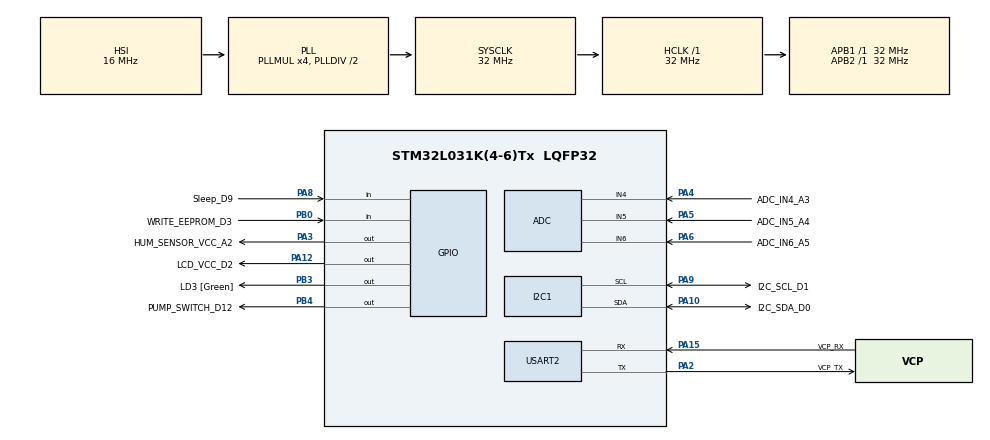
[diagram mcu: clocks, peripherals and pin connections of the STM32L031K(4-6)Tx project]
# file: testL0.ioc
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Dma.ADC.0.Direction=DMA_PERIPH_TO_MEMORY
Dma.ADC.0.Instance=DMA1_Channel1
Dma.ADC.0.MemDataAlignment=DMA_MDATAALIGN_WORD
Dma.ADC.0.MemInc=DMA_MINC_ENABLE
Dma.ADC.0.Mode=DMA_CIRCULAR
Dma.ADC.0.PeriphDataAlignment=DMA_PDATAALIGN_WORD
Dma.ADC.0.PeriphInc=DMA_PINC_DISABLE
Dma.ADC.0.Priority=DMA_PRIORITY_LOW
Dma.Request0=ADC
I2C1.Timing=0x00707CBB
Mcu.Family=STM32L0
Mcu.Name=STM32L031K(4-6)Tx
Mcu.Package=LQFP32
NVIC.ADC1_COMP_IRQn=true\:0\:0\:false\:false\:true\:true\:true
NVIC.DMA1_Channel1_IRQn=true\:0\:0\:false\:false\:true\:false\:true
PA10.GPIO_Label=I2C_SDA_D0
PA10.Mode=I2C
PA10.Signal=I2C1_SDA
PA12.GPIO_Label=LCD_VCC_D2
PA12.Signal=GPIO_Output
PA13.GPIO_Label=TMS
PA13.Mode=Serial_Wire
PA13.Signal=SYS_SWDIO
PA14.GPIO_Label=TCK
PA14.Mode=Serial_Wire
PA14.Signal=SYS_SWCLK
PA15.GPIO_Label=VCP_RX
PA15.Mode=Asynchronous
PA15.Signal=USART2_RX
PA2.GPIO_Label=VCP_TX
PA2.Mode=Asynchronous
PA2.Signal=USART2_TX
PA3.GPIO_Label=HUM_SENSOR_VCC_A2
PA3.Signal=GPIO_Output
PA4.GPIO_Label=ADC_IN4_A3
PA4.Mode=IN4
PA4.Signal=ADC_IN4
PA5.GPIO_Label=ADC_IN5_A4
PA5.Mode=IN5
PA5.Signal=ADC_IN5
PA6.GPIO_Label=ADC_IN6_A5
PA6.Mode=IN6
PA6.Signal=ADC_IN6
PA8.GPIO_Label=Sleep_D9
PA8.Signal=GPIO_Input
PA9.GPIO_Label=I2C_SCL_D1
PA9.Mode=I2C
PA9.Signal=I2C1_SCL
PB0.GPIO_Label=WRITE_EEPROM_D3
PB0.Signal=GPIO_Input
PB3.GPIO_Label=LD3 [Green]
PB3.Signal=GPIO_Output
PB4.GPIO_Label=PUMP_SWITCH_D12
PB4.Signal=GPIO_Output
PC14-OSC32_IN.Mode=LSE-External-Oscillator
PC14-OSC32_IN.Signal=RCC_OSC32_IN
PC15-OSC32_OUT.Mode=LSE-External-Oscillator
PC15-OSC32_OUT.Signal=RCC_OSC32_OUT
ProjectManager.HeapSize=0x200
ProjectManager.StackSize=0x400
ProjectManager.TargetToolchain=STM32CubeIDE
RCC.AHBFreq_Value=32000000
RCC.APB1Freq_Value=32000000
RCC.APB1TimFreq_Value=32000000
RCC.APB2Freq_Value=32000000
RCC.APB2TimFreq_Value=32000000
RCC.HCLKFreq_Value=32000000
RCC.HSE_VALUE=8000000
RCC.HSI16_VALUE=16000000
RCC.HSI48_VALUE=48000000
RCC.HSI_VALUE=16000000
RCC.MSI_VALUE=2097000
RCC.PLLMUL=RCC_PLLMUL_4
RCC.SYSCLKFreq_VALUE=32000000
RCC.SYSCLKSource=RCC_SYSCLKSOURCE_PLLCLK
RCC.VCOOutputFreq_Value=64000000
RTC.Alarm-Alarm\ A=RTC_ALARM_A
USART2.VirtualMode-Asynchronous=VM_ASYNC
VP_ADC_TempSens_Input.Mode=IN-TempSens
VP_ADC_Vref_Input.Mode=IN-Vrefint
VP_RTC_VS_RTC_Activate.Mode=RTC_Enabled
VP_RTC_VS_RTC_Alarm_A_Intern.Mode=Alarm A
VP_RTC_VS_RTC_Calendar.Mode=RTC_Calendar
board=NUCLEO-L031K6

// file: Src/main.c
/* USER CODE BEGIN Header */
/**
  ******************************************************************************
  * @file           : main.c
  * @brief          : Main program body
  ******************************************************************************
  * @attention
  *
  * <h2><center>&copy; Copyright (c) 2019 STMicroelectronics.
  * All rights reserved.</center></h2>
  *
  * This software component is licensed by ST under BSD 3-Clause license,
  * the "License"; You may not use this file except in compliance with the
  * License. You may obtain a copy of the License at:
  *                        opensource.org/licenses/BSD-3-Clause
  *
  ******************************************************************************
  */
/* USER CODE END Header */

#include "main.h"

/* USER CODE BEGIN Includes */
#define OLED_DISPLAY
#define USE_EEPROM
//#define FLOAT_CONVERSION

#define NUMBER_OF_MEASURE 48 //2days if 1 hour

#ifdef OLED_DISPLAY
#include "ssd1306.h"
#include "fonts.h"
#include <stdio.h>
#include <math.h>
#endif
#include "stdbool.h"
/* USER CODE END Includes */

/* USER CODE BEGIN PD */
#define DATA_EEPROM_START_ADDR     0x08080000
#define DATA_EEPROM_SIZE_BYTES     8192
#define EEPROM_MEASURECOUNTER 		DATA_EEPROM_START_ADDR
/* USER CODE END PD */

ADC_HandleTypeDef hadc;
DMA_HandleTypeDef hdma_adc;

I2C_HandleTypeDef hi2c1;

RTC_HandleTypeDef hrtc;

UART_HandleTypeDef huart2;

/* USER CODE BEGIN PV */
/* Private variables ---------------------------------------------------------*/
uint32_t ADC_buf[6] = {9,9,9,9,9};
uint32_t ADC_VSolar,ADC_Vreg,ADC_Vref,ADC_Temp,ADC_Soil;
bool measureADCDone;
//uint8_t MeasADCindex =0;
bool SleepOccurs;
uint32_t MeasureCounter = 0;
/* USER CODE END PV */

void SystemClock_Config(void);
static void MX_GPIO_Init(void);
static void MX_DMA_Init(void);
static void MX_USART2_UART_Init(void);
static void MX_I2C1_Init(void);
static void MX_ADC_Init(void);
static void MX_RTC_Init(void);
/* USER CODE BEGIN PFP */
void ftoa(float n, char *res, int afterpoint);
void UpdateDisplay();
void GotoStandby();
/* USER CODE END PFP */

/* USER CODE BEGIN 0 */
void HAL_ADC_ConvCpltCallback(ADC_HandleTypeDef* hadc){

	if(hadc->Instance == ADC1)
	{

		//for L0
		//IN4 : Pin A3 Soil
		//IN5 : Pin A4
		//IN6 : Pin A5
		//Temp
		//Vref
		ADC_Soil = ADC_buf[0];
		ADC_VSolar = ADC_buf[1];
		ADC_Vreg = ADC_buf[2];
		ADC_Temp = ADC_buf[2];
		ADC_Vref = ADC_buf[3];

		measureADCDone = true;

	}

}
/* USER CODE END 0 */

int main(void)
{

  /* MCU Configuration--------------------------------------------------------*/

  /* Reset of all peripherals, Initializes the Flash interface and the Systick. */
  HAL_Init();

  /* Configure the system clock */
  SystemClock_Config();

  /* Initialize all configured peripherals */
  MX_GPIO_Init();
  MX_DMA_Init();
  MX_USART2_UART_Init();
  MX_I2C1_Init();
  MX_ADC_Init();
  MX_RTC_Init();
  /* USER CODE BEGIN 2 */
  measureADCDone = false;

  /* Run the ADC calibration in single-ended mode */
	if (HAL_ADCEx_Calibration_Start(&hadc, ADC_SINGLE_ENDED) != HAL_OK)
	{
	  /* Calibration Error */
	  Error_Handler();
	}

  HAL_GPIO_WritePin(LCD_VCC_D2_GPIO_Port, LCD_VCC_D2_Pin, GPIO_PIN_SET);
  HAL_GPIO_WritePin(HUM_SENSOR_VCC_A2_GPIO_Port, HUM_SENSOR_VCC_A2_Pin, GPIO_PIN_SET);

#ifdef OLED_DISPLAY
  ssd1306_Init();
  HAL_Delay(100);
  ssd1306_Fill(Black);
  ssd1306_UpdateScreen();
  HAL_Delay(100);
  ssd1306_SetCursor(2,2);
#endif
  /* Check and handle if the system was resumed from StandBy mode */
  if(__HAL_PWR_GET_FLAG(PWR_FLAG_SB) != RESET)
  {
	/* Clear Standby flag */
	__HAL_PWR_CLEAR_FLAG(PWR_FLAG_SB);
#ifdef OLED_DISPLAY
	ssd1306_WriteString("Wake up",Font_7x10,White);
#endif
	measureADCDone = false;
	SleepOccurs = true;

	//if wake up increment measure counter and store it in EEPROM
//	MeasureCounter = *(uint32_t*) (DATA_EEPROM_START_ADDR);
//	MeasureCounter ++;
//	MeasureCounter = MeasureCounter % NUMBER_OF_MEASURE;
//#ifdef USE_EEPROM
//	if (HAL_GPIO_ReadPin(WRITE_EEPROM_D3_GPIO_Port,WRITE_EEPROM_D3_Pin))
//	{
//		HAL_FLASHEx_DATAEEPROM_Unlock();
//		HAL_FLASHEx_DATAEEPROM_Program(FLASH_TYPEPROGRAMDATA_WORD, 0x08080000, MeasureCounter);
//		HAL_FLASHEx_DATAEEPROM_Lock();
//	}
//#endif

  }
  else
  {
#ifdef OLED_DISPLAY
	  ssd1306_WriteString("First Init",Font_7x10,White);
#endif
	  SleepOccurs = false;
	  //MeasureCounter = 0 ;
#ifdef USE_EEPROM
	  if (HAL_GPIO_ReadPin(WRITE_EEPROM_D3_GPIO_Port,WRITE_EEPROM_D3_Pin))
	  	{

		ssd1306_SetCursor(0,13);
		ssd1306_WriteString("ERASE EEPROM",Font_7x10,White);

		  //Erase all Data in EEPROM
		  HAL_FLASHEx_DATAEEPROM_Unlock();
		  for (int i = 0; i < (NUMBER_OF_MEASURE *3)+1 ; i++)
		  {
			  HAL_FLASHEx_DATAEEPROM_Erase(DATA_EEPROM_START_ADDR + i*4);
		  }
		  HAL_FLASHEx_DATAEEPROM_Lock();
	  	}
#endif
  }

#ifdef OLED_DISPLAY
  ssd1306_UpdateScreen();
#endif

  HAL_Delay(1000);

  HAL_ADC_Start_DMA(&hadc,(uint32_t*)ADC_buf,sizeof(ADC_buf));

  /* USER CODE END 2 */

  /* Infinite loop */
  while (1)
  {

    /* USER CODE BEGIN 3 */

    //Start ADC conversion
	if (measureADCDone == false)
	{

		HAL_GPIO_WritePin(HUM_SENSOR_VCC_A2_GPIO_Port, HUM_SENSOR_VCC_A2_Pin, GPIO_PIN_SET);
		HAL_ADC_Start_IT(&hadc);

	}

	else
	{
		HAL_GPIO_WritePin(HUM_SENSOR_VCC_A2_GPIO_Port, HUM_SENSOR_VCC_A2_Pin, GPIO_PIN_RESET);
		HAL_ADC_Stop_IT(&hadc);

//		if (HAL_GPIO_ReadPin(WRITE_EEPROM_D3_GPIO_Port,WRITE_EEPROM_D3_Pin))
//		{
			MeasureCounter = *(uint32_t*) (DATA_EEPROM_START_ADDR);
//		}
		MeasureCounter = MeasureCounter % NUMBER_OF_MEASURE + 1;

		//saved measure into EEPROM

#ifdef USE_EEPROM
//		if (HAL_GPIO_ReadPin(WRITE_EEPROM_D3_GPIO_Port,WRITE_EEPROM_D3_Pin))
//		{
			HAL_FLASHEx_DATAEEPROM_Unlock();
			HAL_FLASHEx_DATAEEPROM_Program(FLASH_TYPEPROGRAMDATA_WORD, 0x08080000, MeasureCounter);
			//save SUN measure
			HAL_FLASHEx_DATAEEPROM_Program(FLASH_TYPEPROGRAMDATA_WORD, 0x08080000 + ((MeasureCounter) *4), ADC_buf[1]);
			//save Vcc Measure
			HAL_FLASHEx_DATAEEPROM_Program(FLASH_TYPEPROGRAMDATA_WORD, 0x08080000 + NUMBER_OF_MEASURE *4 + ((MeasureCounter) *4), ADC_buf[2]);
			//save Vref
			HAL_FLASHEx_DATAEEPROM_Program(FLASH_TYPEPROGRAMDATA_WORD, 0x08080000 + NUMBER_OF_MEASURE *2*4 + ((MeasureCounter) *4), ADC_buf[4]);
			HAL_FLASHEx_DATAEEPROM_Lock();
//		}
#endif
#ifdef OLED_DISPLAY
		//Display information on OLED
		UpdateDisplay();
#endif

		//give some time to read LCD
		if (SleepOccurs == true)
		{
			HAL_Delay(2000);
			SleepOccurs =false;
		}

		MeasureCounter ++;
		measureADCDone = false;

		//EnterStandy
		if (HAL_GPIO_ReadPin(Sleep_D9_GPIO_Port,Sleep_D9_Pin))
		{
			GotoStandby();
		}

	}

    //blink LED
    uint32_t blinkTime = 100;
	HAL_GPIO_WritePin(LD3_GPIO_Port, LD3_Pin, GPIO_PIN_SET);
	HAL_Delay(blinkTime);
	HAL_GPIO_WritePin(LD3_GPIO_Port, LD3_Pin, GPIO_PIN_RESET);
	HAL_Delay(blinkTime);

	if(ADC_Soil < 500)
	{
		HAL_GPIO_WritePin(PUMP_SWITCH_D12_GPIO_Port, PUMP_SWITCH_D12_Pin,GPIO_PIN_SET);

		  ssd1306_Fill(Black);
		  ssd1306_UpdateScreen();

		uint16_t NumOfSec = 60;
		for (uint16_t i =0 ; i < NumOfSec ; i++)
		{
			HAL_ADC_Start_IT(&hadc);
			HAL_Delay(1000);
			char buffer[128];
			sprintf( buffer, "SOIL_A3=%4lu" ,ADC_Soil);
			ssd1306_SetCursor(0,0);
			ssd1306_WriteString(buffer,Font_7x10,White);

			sprintf( buffer, "Vref=%4lu" ,ADC_Vref);
			ssd1306_SetCursor(0,13);
			ssd1306_WriteString(buffer,Font_7x10,White);

			sprintf( buffer, "ARROSAGE %4u sec" ,NumOfSec -i);
			ssd1306_SetCursor(0,26);
			ssd1306_WriteString(buffer,Font_7x10,White);
			ssd1306_UpdateScreen();
		}

		ssd1306_Fill(Black);
		ssd1306_UpdateScreen();

		HAL_GPIO_WritePin(PUMP_SWITCH_D12_GPIO_Port, PUMP_SWITCH_D12_Pin,GPIO_PIN_RESET);
	}

	//for L0 not programmable
			//IN4 : Pin A3
			//IN5 : Pin A4
			//IN6 : Pin A5
			//Temp
			//Vref

  }
  /* USER CODE END 3 */
}

void SystemClock_Config(void)
{
  RCC_OscInitTypeDef RCC_OscInitStruct = {0};
  RCC_ClkInitTypeDef RCC_ClkInitStruct = {0};
  RCC_PeriphCLKInitTypeDef PeriphClkInit = {0};

  /** Configure the main internal regulator output voltage
  */
  __HAL_PWR_VOLTAGESCALING_CONFIG(PWR_REGULATOR_VOLTAGE_SCALE1);
  /** Initializes the CPU, AHB and APB busses clocks
  */
  RCC_OscInitStruct.OscillatorType = RCC_OSCILLATORTYPE_HSI|RCC_OSCILLATORTYPE_LSI;
  RCC_OscInitStruct.HSIState = RCC_HSI_ON;
  RCC_OscInitStruct.HSICalibrationValue = RCC_HSICALIBRATION_DEFAULT;
  RCC_OscInitStruct.LSIState = RCC_LSI_ON;
  RCC_OscInitStruct.PLL.PLLState = RCC_PLL_ON;
  RCC_OscInitStruct.PLL.PLLSource = RCC_PLLSOURCE_HSI;
  RCC_OscInitStruct.PLL.PLLMUL = RCC_PLLMUL_4;
  RCC_OscInitStruct.PLL.PLLDIV = RCC_PLLDIV_2;
  if (HAL_RCC_OscConfig(&RCC_OscInitStruct) != HAL_OK)
  {
    Error_Handler();
  }
  /** Initializes the CPU, AHB and APB busses clocks
  */
  RCC_ClkInitStruct.ClockType = RCC_CLOCKTYPE_HCLK|RCC_CLOCKTYPE_SYSCLK
                              |RCC_CLOCKTYPE_PCLK1|RCC_CLOCKTYPE_PCLK2;
  RCC_ClkInitStruct.SYSCLKSource = RCC_SYSCLKSOURCE_PLLCLK;
  RCC_ClkInitStruct.AHBCLKDivider = RCC_SYSCLK_DIV1;
  RCC_ClkInitStruct.APB1CLKDivider = RCC_HCLK_DIV1;
  RCC_ClkInitStruct.APB2CLKDivider = RCC_HCLK_DIV1;

  if (HAL_RCC_ClockConfig(&RCC_ClkInitStruct, FLASH_LATENCY_1) != HAL_OK)
  {
    Error_Handler();
  }
  PeriphClkInit.PeriphClockSelection = RCC_PERIPHCLK_USART2|RCC_PERIPHCLK_I2C1
                              |RCC_PERIPHCLK_RTC;
  PeriphClkInit.Usart2ClockSelection = RCC_USART2CLKSOURCE_PCLK1;
  PeriphClkInit.I2c1ClockSelection = RCC_I2C1CLKSOURCE_PCLK1;
  PeriphClkInit.RTCClockSelection = RCC_RTCCLKSOURCE_LSI;
  if (HAL_RCCEx_PeriphCLKConfig(&PeriphClkInit) != HAL_OK)
  {
    Error_Handler();
  }
}

static void MX_ADC_Init(void)
{

  ADC_ChannelConfTypeDef sConfig = {0};

  /** Configure the global features of the ADC (Clock, Resolution, Data Alignment and number of conversion)
  */
  hadc.Instance = ADC1;
  hadc.Init.OversamplingMode = DISABLE;
  hadc.Init.ClockPrescaler = ADC_CLOCK_SYNC_PCLK_DIV2;
  hadc.Init.Resolution = ADC_RESOLUTION_12B;
  hadc.Init.SamplingTime = ADC_SAMPLETIME_1CYCLE_5;
  hadc.Init.ScanConvMode = ADC_SCAN_DIRECTION_FORWARD;
  hadc.Init.DataAlign = ADC_DATAALIGN_RIGHT;
  hadc.Init.ContinuousConvMode = DISABLE;
  hadc.Init.DiscontinuousConvMode = DISABLE;
  hadc.Init.ExternalTrigConvEdge = ADC_EXTERNALTRIGCONVEDGE_NONE;
  hadc.Init.ExternalTrigConv = ADC_SOFTWARE_START;
  hadc.Init.DMAContinuousRequests = DISABLE;
  hadc.Init.EOCSelection = ADC_EOC_SINGLE_CONV;
  hadc.Init.Overrun = ADC_OVR_DATA_PRESERVED;
  hadc.Init.LowPowerAutoWait = DISABLE;
  hadc.Init.LowPowerFrequencyMode = DISABLE;
  hadc.Init.LowPowerAutoPowerOff = DISABLE;
  if (HAL_ADC_Init(&hadc) != HAL_OK)
  {
    Error_Handler();
  }
  /** Configure for the selected ADC regular channel to be converted.
  */
  sConfig.Channel = ADC_CHANNEL_4;
  sConfig.Rank = ADC_RANK_CHANNEL_NUMBER;
  if (HAL_ADC_ConfigChannel(&hadc, &sConfig) != HAL_OK)
  {
    Error_Handler();
  }
  /** Configure for the selected ADC regular channel to be converted.
  */
  sConfig.Channel = ADC_CHANNEL_5;
  if (HAL_ADC_ConfigChannel(&hadc, &sConfig) != HAL_OK)
  {
    Error_Handler();
  }
  /** Configure for the selected ADC regular channel to be converted.
  */
  sConfig.Channel = ADC_CHANNEL_6;
  if (HAL_ADC_ConfigChannel(&hadc, &sConfig) != HAL_OK)
  {
    Error_Handler();
  }
  /** Configure for the selected ADC regular channel to be converted.
  */
  sConfig.Channel = ADC_CHANNEL_TEMPSENSOR;
  if (HAL_ADC_ConfigChannel(&hadc, &sConfig) != HAL_OK)
  {
    Error_Handler();
  }
  /** Configure for the selected ADC regular channel to be converted.
  */
  sConfig.Channel = ADC_CHANNEL_VREFINT;
  if (HAL_ADC_ConfigChannel(&hadc, &sConfig) != HAL_OK)
  {
    Error_Handler();
  }

}

static void MX_I2C1_Init(void)
{

  hi2c1.Instance = I2C1;
  hi2c1.Init.Timing = 0x00707CBB;
  hi2c1.Init.OwnAddress1 = 0;
  hi2c1.Init.AddressingMode = I2C_ADDRESSINGMODE_7BIT;
  hi2c1.Init.DualAddressMode = I2C_DUALADDRESS_DISABLE;
  hi2c1.Init.OwnAddress2 = 0;
  hi2c1.Init.OwnAddress2Masks = I2C_OA2_NOMASK;
  hi2c1.Init.GeneralCallMode = I2C_GENERALCALL_DISABLE;
  hi2c1.Init.NoStretchMode = I2C_NOSTRETCH_DISABLE;
  if (HAL_I2C_Init(&hi2c1) != HAL_OK)
  {
    Error_Handler();
  }
  /** Configure Analogue filter
  */
  if (HAL_I2CEx_ConfigAnalogFilter(&hi2c1, I2C_ANALOGFILTER_ENABLE) != HAL_OK)
  {
    Error_Handler();
  }
  /** Configure Digital filter
  */
  if (HAL_I2CEx_ConfigDigitalFilter(&hi2c1, 0) != HAL_OK)
  {
    Error_Handler();
  }

}

static void MX_RTC_Init(void)
{

  RTC_TimeTypeDef sTime = {0};
  RTC_DateTypeDef sDate = {0};
  RTC_AlarmTypeDef sAlarm = {0};

  /** Initialize RTC Only
  */
  hrtc.Instance = RTC;
  hrtc.Init.HourFormat = RTC_HOURFORMAT_24;
  hrtc.Init.AsynchPrediv = 127;
  hrtc.Init.SynchPrediv = 255;
  hrtc.Init.OutPut = RTC_OUTPUT_DISABLE;
  hrtc.Init.OutPutRemap = RTC_OUTPUT_REMAP_NONE;
  hrtc.Init.OutPutPolarity = RTC_OUTPUT_POLARITY_HIGH;
  hrtc.Init.OutPutType = RTC_OUTPUT_TYPE_OPENDRAIN;
  if (HAL_RTC_Init(&hrtc) != HAL_OK)
  {
    Error_Handler();
  }

  /** Initialize RTC and set the Time and Date
  */
  sTime.Hours = 0x0;
  sTime.Minutes = 0x0;
  sTime.Seconds = 0x0;
  sTime.DayLightSaving = RTC_DAYLIGHTSAVING_NONE;
  sTime.StoreOperation = RTC_STOREOPERATION_RESET;
  if (HAL_RTC_SetTime(&hrtc, &sTime, RTC_FORMAT_BCD) != HAL_OK)
  {
    Error_Handler();
  }
  sDate.WeekDay = RTC_WEEKDAY_MONDAY;
  sDate.Month = RTC_MONTH_JANUARY;
  sDate.Date = 0x1;
  sDate.Year = 0x0;

  if (HAL_RTC_SetDate(&hrtc, &sDate, RTC_FORMAT_BCD) != HAL_OK)
  {
    Error_Handler();
  }
  /** Enable the Alarm A
  */
  sAlarm.AlarmTime.Hours = 0x0;
  sAlarm.AlarmTime.Minutes = 0x0;
  sAlarm.AlarmTime.Seconds = 0x0;
  sAlarm.AlarmTime.SubSeconds = 0x0;
  sAlarm.AlarmTime.DayLightSaving = RTC_DAYLIGHTSAVING_NONE;
  sAlarm.AlarmTime.StoreOperation = RTC_STOREOPERATION_RESET;
  sAlarm.AlarmMask = RTC_ALARMMASK_NONE;
  sAlarm.AlarmSubSecondMask = RTC_ALARMSUBSECONDMASK_ALL;
  sAlarm.AlarmDateWeekDaySel = RTC_ALARMDATEWEEKDAYSEL_DATE;
  sAlarm.AlarmDateWeekDay = 0x1;
  sAlarm.Alarm = RTC_ALARM_A;
  if (HAL_RTC_SetAlarm(&hrtc, &sAlarm, RTC_FORMAT_BCD) != HAL_OK)
  {
    Error_Handler();
  }

}

static void MX_USART2_UART_Init(void)
{

  huart2.Instance = USART2;
  huart2.Init.BaudRate = 115200;
  huart2.Init.WordLength = UART_WORDLENGTH_8B;
  huart2.Init.StopBits = UART_STOPBITS_1;
  huart2.Init.Parity = UART_PARITY_NONE;
  huart2.Init.Mode = UART_MODE_TX_RX;
  huart2.Init.HwFlowCtl = UART_HWCONTROL_NONE;
  huart2.Init.OverSampling = UART_OVERSAMPLING_16;
  huart2.Init.OneBitSampling = UART_ONE_BIT_SAMPLE_DISABLE;
  huart2.AdvancedInit.AdvFeatureInit = UART_ADVFEATURE_NO_INIT;
  if (HAL_UART_Init(&huart2) != HAL_OK)
  {
    Error_Handler();
  }

}

static void MX_DMA_Init(void)
{
  /* DMA controller clock enable */
  __HAL_RCC_DMA1_CLK_ENABLE();

  /* DMA interrupt init */
  /* DMA1_Channel1_IRQn interrupt configuration */
  HAL_NVIC_SetPriority(DMA1_Channel1_IRQn, 0, 0);
  HAL_NVIC_EnableIRQ(DMA1_Channel1_IRQn);

}

static void MX_GPIO_Init(void)
{
  GPIO_InitTypeDef GPIO_InitStruct = {0};

  /* GPIO Ports Clock Enable */
  __HAL_RCC_GPIOC_CLK_ENABLE();
  __HAL_RCC_GPIOA_CLK_ENABLE();
  __HAL_RCC_GPIOB_CLK_ENABLE();

  /*Configure GPIO pin Output Level */
  HAL_GPIO_WritePin(GPIOA, HUM_SENSOR_VCC_A2_Pin|LCD_VCC_D2_Pin, GPIO_PIN_RESET);

  /*Configure GPIO pin Output Level */
  HAL_GPIO_WritePin(GPIOB, LD3_Pin|PUMP_SWITCH_D12_Pin, GPIO_PIN_RESET);

  /*Configure GPIO pins : HUM_SENSOR_VCC_A2_Pin LCD_VCC_D2_Pin */
  GPIO_InitStruct.Pin = HUM_SENSOR_VCC_A2_Pin|LCD_VCC_D2_Pin;
  GPIO_InitStruct.Mode = GPIO_MODE_OUTPUT_PP;
  GPIO_InitStruct.Pull = GPIO_NOPULL;
  GPIO_InitStruct.Speed = GPIO_SPEED_FREQ_LOW;
  HAL_GPIO_Init(GPIOA, &GPIO_InitStruct);

  /*Configure GPIO pin : WRITE_EEPROM_D3_Pin */
  GPIO_InitStruct.Pin = WRITE_EEPROM_D3_Pin;
  GPIO_InitStruct.Mode = GPIO_MODE_INPUT;
  GPIO_InitStruct.Pull = GPIO_NOPULL;
  HAL_GPIO_Init(WRITE_EEPROM_D3_GPIO_Port, &GPIO_InitStruct);

  /*Configure GPIO pin : Sleep_D9_Pin */
  GPIO_InitStruct.Pin = Sleep_D9_Pin;
  GPIO_InitStruct.Mode = GPIO_MODE_INPUT;
  GPIO_InitStruct.Pull = GPIO_NOPULL;
  HAL_GPIO_Init(Sleep_D9_GPIO_Port, &GPIO_InitStruct);

  /*Configure GPIO pins : LD3_Pin PUMP_SWITCH_D12_Pin */
  GPIO_InitStruct.Pin = LD3_Pin|PUMP_SWITCH_D12_Pin;
  GPIO_InitStruct.Mode = GPIO_MODE_OUTPUT_PP;
  GPIO_InitStruct.Pull = GPIO_NOPULL;
  GPIO_InitStruct.Speed = GPIO_SPEED_FREQ_LOW;
  HAL_GPIO_Init(GPIOB, &GPIO_InitStruct);

}

/* USER CODE BEGIN 4 */
void GotoStandby()
{
	//GPIO is use to enter or not in sleep mode : GPIOa8 -> pin D9

//		if (measureADCDone == true)
//		{
//		/* Insert 5 seconds delay */
//			  HAL_Delay(5000);

			//Power off LCD
			HAL_GPIO_WritePin(LCD_VCC_D2_GPIO_Port, LCD_VCC_D2_Pin, GPIO_PIN_RESET);

			  /* The Following Wakeup sequence is highly recommended prior to each Standby mode entry
			    mainly  when using more than one wakeup source this is to not miss any wakeup event.
			    - Disable all used wakeup sources,
			    - Clear all related wakeup flags,
			    - Re-enable all used wakeup sources,
			    - Enter the Standby mode.
			  */
			  /* Disable all used wakeup sources*/
			  HAL_RTCEx_DeactivateWakeUpTimer(&hrtc);

			  /* Clear all related wakeup flags */
			  __HAL_PWR_CLEAR_FLAG(PWR_FLAG_WU);

			    RTC_AlarmTypeDef salarmstructure;
			    /*##-3- Configure the RTC Alarm peripheral #################################*/
			  /* Set Alarm to 02:20:30
				 RTC Alarm Generation: Alarm on Hours, Minutes and Seconds */
			  salarmstructure.Alarm = RTC_ALARM_A;
			  salarmstructure.AlarmDateWeekDay = RTC_WEEKDAY_MONDAY;
			  salarmstructure.AlarmDateWeekDaySel = RTC_ALARMDATEWEEKDAYSEL_WEEKDAY;
			  salarmstructure.AlarmMask = RTC_ALARMMASK_DATEWEEKDAY;
			  salarmstructure.AlarmSubSecondMask = RTC_ALARMSUBSECONDMASK_NONE;
			  salarmstructure.AlarmTime.TimeFormat = RTC_HOURFORMAT12_AM;
			  salarmstructure.AlarmTime.Hours = 0x01;
			  salarmstructure.AlarmTime.Minutes = 0x00;
			  salarmstructure.AlarmTime.Seconds = 0x00;
			  salarmstructure.AlarmTime.SubSeconds = 0x0;

			  if(HAL_RTC_SetAlarm_IT(&hrtc,&salarmstructure,RTC_FORMAT_BCD) != HAL_OK)
			  {
				/* Initialization Error */
				Error_Handler();
			  }

			  /* Enter the Standby mode */

			  HAL_PWR_EnterSTANDBYMode();
		//}
	//}
}
void UpdateDisplay()
{
	char buffer[128];
	    //Display ADC4 value
	    sprintf( buffer, "SOIL_A3=%4lu" ,ADC_Soil);
		ssd1306_SetCursor(0,0);
		ssd1306_WriteString(buffer,Font_7x10,White);

		ssd1306_SetCursor(100,0);
		if (ADC_Soil < 500)
			ssd1306_WriteString("DRY",Font_7x10,White);
		else if ((ADC_buf[0] > 500) && (ADC_buf[0] < 2000))
			ssd1306_WriteString("OK",Font_7x10,White);
		else
			ssd1306_WriteString("WET",Font_7x10,White);

		ssd1306_SetCursor(0,13);
		sprintf( buffer, "SUN_A4= %4lu" ,ADC_VSolar);
		ssd1306_WriteString(buffer,Font_7x10,White);

	//	uint32_t Vsolar =  (16.2/3129) * ADC_buf[1] ;
	//	sprintf( buffer, "%4lu" ,Vsolar);
	//#ifdef FLOAT_CONVERSION
	//	ftoa(Vsolar, buffer, 1);
	//#endif
	//	ssd1306_SetCursor(90,13);
	//	ssd1306_WriteString(buffer,Font_7x10,White);

		sprintf( buffer, "Vcc A5=%4lu" ,ADC_Vreg);
		ssd1306_SetCursor(0,26);
		ssd1306_WriteString(buffer,Font_7x10,White);

		//Display ADC temp
		sprintf( buffer, "Temp=%4lu" ,ADC_Temp);
		ssd1306_SetCursor(0,39);
		ssd1306_WriteString(buffer,Font_7x10,White);

		ssd1306_SetCursor(100,39);
		sprintf( buffer, "%2lu" ,MeasureCounter);
		ssd1306_WriteString(buffer,Font_7x10,White);

		//Display Vref
		sprintf( buffer, "Vref= %4lu" ,ADC_Vref);
		ssd1306_SetCursor(0,52);
		ssd1306_WriteString(buffer,Font_7x10,White);

		ssd1306_SetCursor(80,52);
		if (HAL_GPIO_ReadPin(WRITE_EEPROM_D3_GPIO_Port,WRITE_EEPROM_D3_Pin))
		{
			ssd1306_WriteString("SAVED",Font_7x10,White);
		}
		else
		{
			ssd1306_WriteString("     ",Font_7x10,White);
		}
	#if 0
	    //Display ADC4 value
	    sprintf( buffer, "SOIL_A3=%4lu" ,ADC_buf[0]);
		ssd1306_SetCursor(0,0);
		ssd1306_WriteString(buffer,Font_7x10,White);

		ssd1306_SetCursor(100,0);
		if (ADC_buf[0] < 500)
			ssd1306_WriteString("DRY",Font_7x10,White);
		else if ((ADC_buf[0] > 500) && (ADC_buf[0] < 2000))
			ssd1306_WriteString("OK",Font_7x10,White);
		else
			ssd1306_WriteString("WET",Font_7x10,White);

		ssd1306_SetCursor(0,13);
		sprintf( buffer, "SUN_A4= %4lu" ,ADC_buf[1]);
		ssd1306_WriteString(buffer,Font_7x10,White);

		float Vsolar =  (16.2/3129) * ADC_buf[1] ;
		ftoa(Vsolar, buffer, 1);
		ssd1306_SetCursor(90,13);
		ssd1306_WriteString(buffer,Font_7x10,White);

		//sprintf( buffer, "SUN [A4]= %.1f" ,Vsolar);

	//	char buffer1[] = "SUN_A4=";
	//	//memcpy(buffer ,  "SUN [A4]= ");
	//	ssd1306_WriteString(buffer1,Font_7x10,White);
	//
	//	float Vsolar =  (16.2/3129) * ADC_buf[1] ;
	//	ftoa(Vsolar, buffer, 1);
	//	ssd1306_SetCursor(60,13);
	//	ssd1306_WriteString(buffer,Font_7x10,White);
	//
	//	sprintf( buffer, "V:%4lu" ,ADC_buf[1]);
	//	ssd1306_SetCursor(81,13);
	//	ssd1306_WriteString(buffer,Font_7x10,White);

		//Calculate VBat from Vref
	//	float VBat=-0.00211*ADC_buf[3]+5.1357;
	//    uint16_t VBatbis = (uint16_t)(VBat*100);
		sprintf( buffer, "Vbat=%4lu" ,ADC_buf[2]);
		ssd1306_SetCursor(0,26);
		ssd1306_WriteString(buffer,Font_7x10,White);

		//Display ADC temp
		sprintf( buffer, "Vref=%4lu" ,ADC_buf[3]);
		ssd1306_SetCursor(0,39);
		ssd1306_WriteString(buffer,Font_7x10,White);

		//Display Temp
	//	sprintf( buffer, "ADCTemp= %4lu" ,ADC_buf[4]);
	//	ssd1306_SetCursor(0,52);
	//	ssd1306_WriteString(buffer,Font_7x10,White);

		//Display Temp
		sprintf( buffer, "ADC3V3= %4lu" ,ADC_buf[5]);
		ssd1306_SetCursor(0,52);
		ssd1306_WriteString(buffer,Font_7x10,White);
	#endif
		ssd1306_UpdateScreen();
}
// C program for implementation of ftoa()
#ifdef OLED_DISPLAY
#ifdef FLOAT_CONVERSION
// reverses a string 'str' of length 'len'
void reverse(char *str, int len)
{
	int i=0, j=len-1, temp;
	while (i<j)
	{
		temp = str[i];
		str[i] = str[j];
		str[j] = temp;
		i++; j--;
	}
}

// Converts a given integer x to string str[]. d is the number
// of digits required in output. If d is more than the number
// of digits in x, then 0s are added at the beginning.
int intToStr(int x, char str[], int d)
{
	int i = 0;
	while (x)
	{
		str[i++] = (x%10) + '0';
		x = x/10;
	}

	// If number of digits required is more, then
	// add 0s at the beginning
	while (i < d)
		str[i++] = '0';

	reverse(str, i);
	str[i] = '\0';
	return i;
}

// Converts a floating point number to string.
void ftoa(float n, char *res, int afterpoint)
{
	// Extract integer part
	int ipart = (int)n;

	// Extract floating part
	float fpart = n - (float)ipart;

	// convert integer part to string
	int i = intToStr(ipart, res, 0);

	// check for display option after point
	if (afterpoint != 0)
	{
		res[i] = '.'; // add dot

		// Get the value of fraction part upto given no.
		// of points after dot. The third parameter is needed
		// to handle cases like 233.007
		fpart = fpart * pow(10, afterpoint);

		intToStr((int)fpart, res + i + 1, afterpoint);
	}
}
#endif
#endif
// driver program to test above funtion

/* USER CODE END 4 */

void Error_Handler(void)
{
}

/************************ (C) COPYRIGHT STMicroelectronics *****END OF FILE****/
